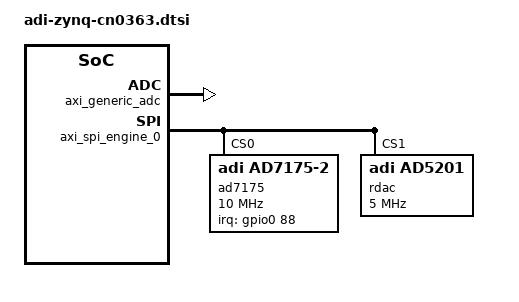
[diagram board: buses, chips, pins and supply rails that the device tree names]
#include <dt-bindings/interrupt-controller/irq.h>

/ {
	clocks {
		adc_clkin: clock@0 {
			#clock-cells = <0>;
			compatible = "fixed-clock";
			clock-frequency = <25000>;
			clock-output-names = "sampl_clk";
		};
	};
};

&fpga_axi {

	rx_dma: dma@44a30000 {
		compatible = "adi,axi-dmac-1.00.a";
		reg = <0x44a30000 0x10000>;
		#dma-cells = <1>;
		interrupts = <0 57 IRQ_TYPE_LEVEL_HIGH>;
		clocks = <&clkc 15>;

		adi,channels {
			#size-cells = <0>;
			#address-cells = <1>;

			dma-channel@0 {
				reg = <0>;
				adi,source-bus-width = <32>;
				adi,source-bus-type = <2>;
				adi,destination-bus-width = <64>;
				adi,destination-bus-type = <0>;
			};
		};
	};

	axi_generic_adc: axi-generic-adc@43c00000 {
		compatible = "adi,cn0363-adc-1.00.a";
		reg = <0x43c00000 0x10000>;

		clocks = <&adc_clkin>;
		clock-names = "sampl_clk";
		dmas = <&rx_dma 0>;
		dma-names = "rx";

		io-channels = <&ad7175 1>, <&ad7175 2>;
	};

	axi_spi_engine_0: spi@44a00000 {
		compatible = "adi,axi-spi-engine-1.00.a";
		reg = <0x44a00000 0x1000>;
		interrupt-parent = <&intc>;
		interrupts = <0 56 IRQ_TYPE_LEVEL_HIGH>;
		clocks = <&clkc 15 &clkc 15>;
		clock-names = "s_axi_aclk", "spi_clk";
		num-cs = <2>;

		#address-cells = <0x1>;
		#size-cells = <0x0>;

		ad7175: adc@0 {
			compatible = "adi,ad7175-2";
			reg = <0>;
			spi-cpha;
			spi-cpol;
			spi-max-frequency = <10000000>;
			interrupt-parent = <&gpio0>;
			interrupts = <88 4>;
			#io-channel-cells = <1>;

			adi,channels {
				#address-cells = <2>;
				#size-cells = <0>;

				channel@0,1 {
					reg = <0 1>;
					adi,bipolar;
				};

				channel@2,3 {
					reg = <2 3>;
					adi,bipolar;
				};

				channel@0,4 {
					reg = <0 4>;
				};
			};
		};

		rdac@1 {
			compatible = "adi,ad5201";
			reg = <1>;
			spi-max-frequency = <5000000>;
		};
	};
};
